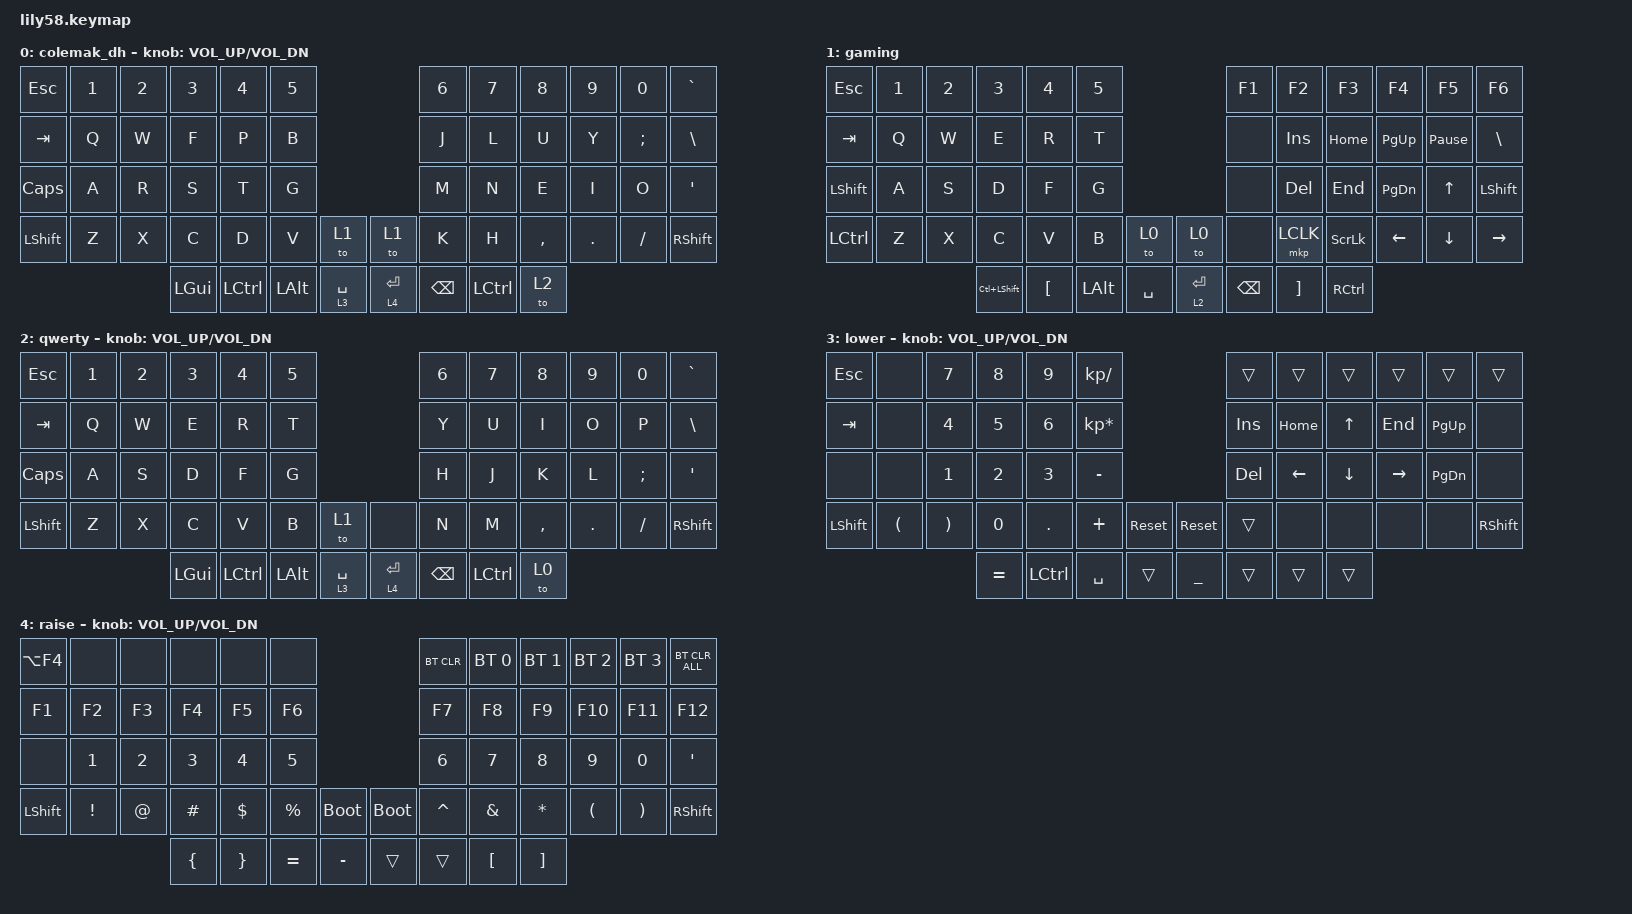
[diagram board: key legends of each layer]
/*
 * Copyright (c) 2020 The ZMK Contributors
 *
 * SPDX-License-Identifier: MIT
 */

#include <behaviors.dtsi>
#include <dt-bindings/zmk/bt.h>
#include <dt-bindings/zmk/keys.h>
#include <dt-bindings/zmk/pointing.h>

/ {
    keymap {
        compatible = "zmk,keymap";

        colemak_dh {
            display-name = "colemak_dh";
            bindings = <
&kp ESC       &kp N1  &kp N2  &kp N3    &kp N4     &kp N5                                 &kp N6    &kp N7     &kp N8     &kp N9   &kp N0    &kp GRAVE
&kp TAB       &kp Q   &kp W   &kp F     &kp P      &kp B                                  &kp J     &kp L      &kp U      &kp Y    &kp SEMI  &kp BSLH
&kp CAPSLOCK  &kp A   &kp R   &kp S     &kp T      &kp G                                  &kp M     &kp N      &kp E      &kp I    &kp O     &kp SQT
&kp LSHFT     &kp Z   &kp X   &kp C     &kp D      &kp V     &to 1          &to 1         &kp K     &kp H      &kp COMMA  &kp DOT  &kp FSLH  &kp RSHFT
                              &kp LGUI  &kp LCTRL  &kp LALT  &lt 3 SPACE    &lt 4 RETURN  &kp BSPC  &kp LCTRL  &to 2
            >;

            sensor-bindings = <&inc_dec_kp C_VOL_UP C_VOL_DN>;
            label = "COLEMAK_DH";
        };

        gaming {
            bindings = <
&kp ESC    &kp N1  &kp N2  &kp N3              &kp N4            &kp N5                               &kp F1         &kp F2      &kp F3          &kp F4         &kp F5           &kp F6
&kp TAB    &kp Q   &kp W   &kp E               &kp R             &kp T                                &none          &kp INSERT  &kp HOME        &kp PAGE_UP    &kp PAUSE_BREAK  &kp BSLH
&kp LSHFT  &kp A   &kp S   &kp D               &kp F             &kp G                                &none          &kp DELETE  &kp END         &kp PAGE_DOWN  &kp UP_ARROW     &kp LEFT_SHIFT
&kp LCTRL  &kp Z   &kp X   &kp C               &kp V             &kp B     &to 0        &to 0         &none          &mkp LCLK   &kp SCROLLLOCK  &kp LEFT       &kp DOWN         &kp RIGHT
                           &kp LC(LEFT_SHIFT)  &kp LEFT_BRACKET  &kp LALT  &kp SPACE    &lt 2 RETURN  &kp BACKSPACE  &kp RBKT    &kp RCTRL
            >;

            label = "gaming";
        };

        qwerty {
            label = "qwerty";
            display-name = "qwerty";
            bindings = <
&kp ESC       &kp N1  &kp N2  &kp N3    &kp N4     &kp N5                                 &kp N6    &kp N7     &kp N8     &kp N9   &kp N0    &kp GRAVE
&kp TAB       &kp Q   &kp W   &kp E     &kp R      &kp T                                  &kp Y     &kp U      &kp I      &kp O    &kp P     &kp BSLH
&kp CAPSLOCK  &kp A   &kp S   &kp D     &kp F      &kp G                                  &kp H     &kp J      &kp K      &kp L    &kp SEMI  &kp SQT
&kp LSHFT     &kp Z   &kp X   &kp C     &kp V      &kp B     &to 1          &none         &kp N     &kp M      &kp COMMA  &kp DOT  &kp FSLH  &kp RSHFT
                              &kp LGUI  &kp LCTRL  &kp LALT  &lt 3 SPACE    &lt 4 RETURN  &kp BSPC  &kp LCTRL  &to 0
            >;

            sensor-bindings = <&inc_dec_kp C_VOL_UP C_VOL_DN>;
        };

        lower_layer {
            bindings = <
&kp ESCAPE      &none                 &kp N7                 &kp N8     &kp N9            &kp KP_DIVIDE                                  &trans      &trans    &trans        &trans     &trans         &trans
&kp TAB         &none                 &kp N4                 &kp N5     &kp N6            &kp KP_MULTIPLY                                &kp INSERT  &kp HOME  &kp UP_ARROW  &kp END    &kp PAGE_UP    &none
&none           &none                 &kp N1                 &kp N2     &kp N3            &kp MINUS                                      &kp DEL     &kp LEFT  &kp DOWN      &kp RIGHT  &kp PAGE_DOWN  &none
&kp LEFT_SHIFT  &kp LEFT_PARENTHESIS  &kp RIGHT_PARENTHESIS  &kp N0     &kp DOT           &kp PLUS         &sys_reset    &sys_reset      &trans      &none     &none         &none      &none          &kp RIGHT_SHIFT
                                                             &kp EQUAL  &kp LEFT_CONTROL  &kp SPACE        &trans        &kp UNDERSCORE  &trans      &trans    &trans
            >;

            display-name = "lower";
            sensor-bindings = <&inc_dec_kp C_VOL_UP C_VOL_DN>;
        };

        raise_layer {
            bindings = <
&kp LA(F4)      &none     &none   &none           &none            &none                                    &bt BT_CLR  &bt BT_SEL 0      &bt BT_SEL 1       &bt BT_SEL 2          &bt BT_SEL 3           &bt BT_CLR_ALL
&kp F1          &kp F2    &kp F3  &kp F4          &kp F5           &kp F6                                   &kp F7      &kp F8            &kp F9             &kp F10               &kp F11                &kp F12
&none           &kp N1    &kp N2  &kp N3          &kp N4           &kp N5                                   &kp N6      &kp N7            &kp N8             &kp N9                &kp N0                 &kp SINGLE_QUOTE
&kp LEFT_SHIFT  &kp EXCL  &kp AT  &kp HASH        &kp DOLLAR       &kp PERCENT  &bootloader    &bootloader  &kp CARET   &kp AMPERSAND     &kp ASTERISK       &kp LEFT_PARENTHESIS  &kp RIGHT_PARENTHESIS  &kp RIGHT_SHIFT
                                  &kp LEFT_BRACE  &kp RIGHT_BRACE  &kp EQUAL    &kp MINUS      &trans       &trans      &kp LEFT_BRACKET  &kp RIGHT_BRACKET
            >;

            display-name = "raise";
            sensor-bindings = <&inc_dec_kp C_VOL_UP C_VOL_DN>;
        };
    };
};
